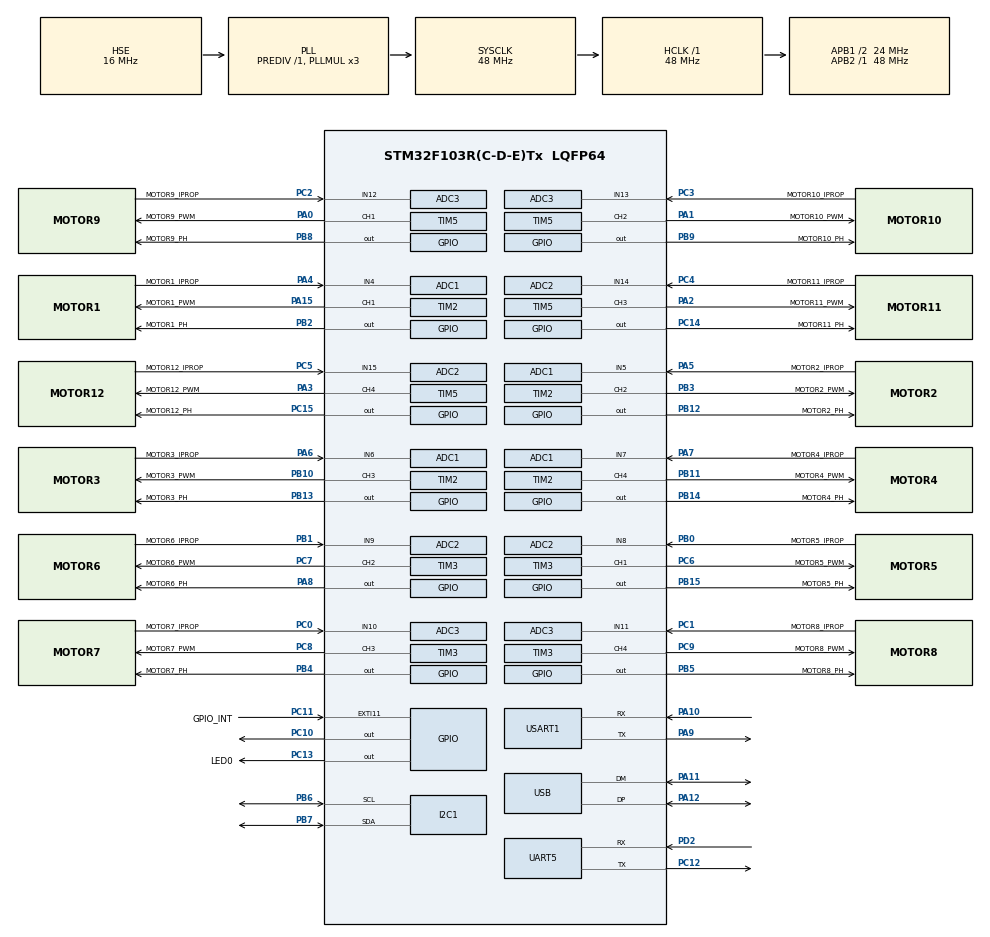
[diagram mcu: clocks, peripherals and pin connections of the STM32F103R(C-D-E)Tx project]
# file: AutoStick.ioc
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ADC1.Channel-0\#ChannelRegularConversion=ADC_CHANNEL_4
ADC1.NbrOfConversionFlag=1
ADC1.Rank-0\#ChannelRegularConversion=1
ADC1.SamplingTime-0\#ChannelRegularConversion=ADC_SAMPLETIME_1CYCLE_5
ADC1.master=1
ADC2.Channel-0\#ChannelRegularConversion=ADC_CHANNEL_8
ADC2.NbrOfConversionFlag=1
ADC2.Rank-0\#ChannelRegularConversion=1
ADC2.SamplingTime-0\#ChannelRegularConversion=ADC_SAMPLETIME_1CYCLE_5
ADC3.Channel-0\#ChannelRegularConversion=ADC_CHANNEL_10
ADC3.NbrOfConversionFlag=1
ADC3.Rank-0\#ChannelRegularConversion=1
ADC3.SamplingTime-0\#ChannelRegularConversion=ADC_SAMPLETIME_1CYCLE_5
Dma.Request0=USART1_RX
Dma.Request1=USART1_TX
Dma.USART1_RX.0.Direction=DMA_PERIPH_TO_MEMORY
Dma.USART1_RX.0.Instance=DMA1_Channel5
Dma.USART1_RX.0.MemDataAlignment=DMA_MDATAALIGN_BYTE
Dma.USART1_RX.0.MemInc=DMA_MINC_ENABLE
Dma.USART1_RX.0.Mode=DMA_CIRCULAR
Dma.USART1_RX.0.PeriphDataAlignment=DMA_PDATAALIGN_BYTE
Dma.USART1_RX.0.PeriphInc=DMA_PINC_DISABLE
Dma.USART1_RX.0.Priority=DMA_PRIORITY_LOW
Dma.USART1_TX.1.Direction=DMA_MEMORY_TO_PERIPH
Dma.USART1_TX.1.Instance=DMA1_Channel4
Dma.USART1_TX.1.MemDataAlignment=DMA_MDATAALIGN_BYTE
Dma.USART1_TX.1.MemInc=DMA_MINC_ENABLE
Dma.USART1_TX.1.Mode=DMA_NORMAL
Dma.USART1_TX.1.PeriphDataAlignment=DMA_PDATAALIGN_BYTE
Dma.USART1_TX.1.PeriphInc=DMA_PINC_DISABLE
Dma.USART1_TX.1.Priority=DMA_PRIORITY_LOW
FREERTOS.Tasks01=defaultTask,0,128,StartDefaultTask,Default,NULL,Dynamic,NULL,NULL
Mcu.Family=STM32F1
Mcu.Name=STM32F103R(C-D-E)Tx
Mcu.Package=LQFP64
NVIC.DMA1_Channel4_IRQn=true\:5\:0\:false\:false\:true\:true\:false\:true
NVIC.DMA1_Channel5_IRQn=true\:5\:0\:false\:false\:true\:true\:false\:true
NVIC.EXTI15_10_IRQn=true\:5\:0\:false\:false\:true\:true\:true\:true
NVIC.PriorityGroup=NVIC_PRIORITYGROUP_4
NVIC.TIM7_IRQn=true\:0\:0\:false\:false\:true\:false\:false\:true
NVIC.TimeBase=TIM7_IRQn
NVIC.TimeBaseIP=TIM7
NVIC.UART5_IRQn=true\:5\:0\:false\:false\:true\:true\:true\:true
NVIC.USART1_IRQn=true\:5\:0\:false\:false\:true\:true\:true\:true
NVIC.USB_LP_CAN1_RX0_IRQn=true\:5\:0\:false\:false\:true\:true\:false\:true
PA0-WKUP.GPIO_Label=MOTOR9_PWM
PA0-WKUP.Signal=S_TIM5_CH1
PA1.GPIO_Label=MOTOR10_PWM
PA1.Signal=S_TIM5_CH2
PA10.Mode=Asynchronous
PA10.Signal=USART1_RX
PA11.Mode=Device
PA11.Signal=USB_DM
PA12.Mode=Device
PA12.Signal=USB_DP
PA13.Mode=Serial_Wire
PA13.Signal=SYS_JTMS-SWDIO
PA14.Mode=Serial_Wire
PA14.Signal=SYS_JTCK-SWCLK
PA15.GPIO_Label=MOTOR1_PWM
PA15.Signal=S_TIM2_CH1_ETR
PA2.GPIO_Label=MOTOR11_PWM
PA2.Signal=S_TIM5_CH3
PA3.GPIO_Label=MOTOR12_PWM
PA3.Signal=S_TIM5_CH4
PA4.GPIO_Label=MOTOR1_IPROP
PA4.Signal=ADCx_IN4
PA5.GPIO_Label=MOTOR2_IPROP
PA5.Signal=ADCx_IN5
PA6.GPIO_Label=MOTOR3_IPROP
PA6.Signal=ADCx_IN6
PA7.GPIO_Label=MOTOR4_IPROP
PA7.Signal=ADCx_IN7
PA8.GPIO_Label=MOTOR6_PH
PA8.Signal=GPIO_Output
PA9.Mode=Asynchronous
PA9.Signal=USART1_TX
PB0.GPIO_Label=MOTOR5_IPROP
PB0.Signal=ADCx_IN8
PB1.GPIO_Label=MOTOR6_IPROP
PB1.Signal=ADCx_IN9
PB10.GPIO_Label=MOTOR3_PWM
PB10.Signal=S_TIM2_CH3
PB11.GPIO_Label=MOTOR4_PWM
PB11.Signal=S_TIM2_CH4
PB12.GPIO_Label=MOTOR2_PH
PB12.Signal=GPIO_Output
PB13.GPIO_Label=MOTOR3_PH
PB13.Signal=GPIO_Output
PB14.GPIO_Label=MOTOR4_PH
PB14.Signal=GPIO_Output
PB15.GPIO_Label=MOTOR5_PH
PB15.Signal=GPIO_Output
PB2.GPIO_Label=MOTOR1_PH
PB2.Signal=GPIO_Output
PB3.GPIO_Label=MOTOR2_PWM
PB3.Signal=S_TIM2_CH2
PB4.GPIO_Label=MOTOR7_PH
PB4.Signal=GPIO_Output
PB5.GPIO_Label=MOTOR8_PH
PB5.Signal=GPIO_Output
PB6.Mode=I2C
PB6.Signal=I2C1_SCL
PB7.Mode=I2C
PB7.Signal=I2C1_SDA
PB8.GPIO_Label=MOTOR9_PH
PB8.Signal=GPIO_Output
PB9.GPIO_Label=MOTOR10_PH
PB9.Signal=GPIO_Output
PC0.GPIO_Label=MOTOR7_IPROP
PC0.Signal=ADCx_IN10
PC1.GPIO_Label=MOTOR8_IPROP
PC1.Signal=ADCx_IN11
PC10.Signal=GPIO_Output
PC11.GPIO_Label=GPIO_INT
PC11.Signal=GPXTI11
PC12.Mode=Asynchronous
PC12.Signal=UART5_TX
PC13-TAMPER-RTC.GPIO_Label=LED0
PC13-TAMPER-RTC.Signal=GPIO_Output
PC14-OSC32_IN.GPIO_Label=MOTOR11_PH
PC14-OSC32_IN.Signal=GPIO_Output
PC15-OSC32_OUT.GPIO_Label=MOTOR12_PH
PC15-OSC32_OUT.Signal=GPIO_Output
PC2.GPIO_Label=MOTOR9_IPROP
PC2.Signal=ADCx_IN12
PC3.GPIO_Label=MOTOR10_IPROP
PC3.Signal=ADCx_IN13
PC4.GPIO_Label=MOTOR11_IPROP
PC4.Signal=ADCx_IN14
PC5.GPIO_Label=MOTOR12_IPROP
PC5.Signal=ADCx_IN15
PC6.GPIO_Label=MOTOR5_PWM
PC6.Signal=S_TIM3_CH1
PC7.GPIO_Label=MOTOR6_PWM
PC7.Signal=S_TIM3_CH2
PC8.GPIO_Label=MOTOR7_PWM
PC8.Signal=S_TIM3_CH3
PC9.GPIO_Label=MOTOR8_PWM
PC9.Signal=S_TIM3_CH4
PD0-OSC_IN.Mode=HSE-External-Oscillator
PD0-OSC_IN.Signal=RCC_OSC_IN
PD1-OSC_OUT.Mode=HSE-External-Oscillator
PD1-OSC_OUT.Signal=RCC_OSC_OUT
PD2.Mode=Asynchronous
PD2.Signal=UART5_RX
ProjectManager.HeapSize=0x200
ProjectManager.StackSize=0x400
ProjectManager.TargetToolchain=STM32CubeIDE
RCC.ADCPresc=RCC_ADCPCLK2_DIV4
RCC.AHBFreq_Value=48000000
RCC.APB1CLKDivider=RCC_HCLK_DIV2
RCC.APB1Freq_Value=24000000
RCC.APB1TimFreq_Value=48000000
RCC.APB2Freq_Value=48000000
RCC.APB2TimFreq_Value=48000000
RCC.HCLKFreq_Value=48000000
RCC.HSE_VALUE=16000000
RCC.PLLMUL=RCC_PLL_MUL3
RCC.PLLSourceVirtual=RCC_PLLSOURCE_HSE
RCC.SYSCLKFreq_VALUE=48000000
RCC.SYSCLKSource=RCC_SYSCLKSOURCE_PLLCLK
RCC.USBFreq_Value=48000000
SH.ADCx_IN10.0=ADC3_IN10,IN10
SH.ADCx_IN11.0=ADC3_IN11,IN11
SH.ADCx_IN12.0=ADC3_IN12,IN12
SH.ADCx_IN13.0=ADC3_IN13,IN13
SH.ADCx_IN14.0=ADC2_IN14,IN14
SH.ADCx_IN15.0=ADC2_IN15,IN15
SH.ADCx_IN4.0=ADC1_IN4,IN4
SH.ADCx_IN5.0=ADC1_IN5,IN5
SH.ADCx_IN6.0=ADC1_IN6,IN6
SH.ADCx_IN7.0=ADC1_IN7,IN7
SH.ADCx_IN8.0=ADC2_IN8,IN8
SH.ADCx_IN9.0=ADC2_IN9,IN9
SH.S_TIM2_CH1_ETR.0=TIM2_CH1,PWM Generation1 CH1
SH.S_TIM2_CH2.0=TIM2_CH2,PWM Generation2 CH2
SH.S_TIM2_CH3.0=TIM2_CH3,PWM Generation3 CH3
SH.S_TIM2_CH4.0=TIM2_CH4,PWM Generation4 CH4
SH.S_TIM3_CH1.0=TIM3_CH1,PWM Generation1 CH1
SH.S_TIM3_CH2.0=TIM3_CH2,PWM Generation2 CH2
SH.S_TIM3_CH3.0=TIM3_CH3,PWM Generation3 CH3
SH.S_TIM3_CH4.0=TIM3_CH4,PWM Generation4 CH4
SH.S_TIM5_CH1.0=TIM5_CH1,PWM Generation1 CH1
SH.S_TIM5_CH2.0=TIM5_CH2,PWM Generation2 CH2
SH.S_TIM5_CH3.0=TIM5_CH3,PWM Generation3 CH3
SH.S_TIM5_CH4.0=TIM5_CH4,PWM Generation4 CH4
TIM2.Channel-PWM\ Generation1\ CH1=TIM_CHANNEL_1
TIM2.Channel-PWM\ Generation2\ CH2=TIM_CHANNEL_2
TIM2.Channel-PWM\ Generation3\ CH3=TIM_CHANNEL_3
TIM2.Channel-PWM\ Generation4\ CH4=TIM_CHANNEL_4
TIM3.Channel-PWM\ Generation1\ CH1=TIM_CHANNEL_1
TIM3.Channel-PWM\ Generation2\ CH2=TIM_CHANNEL_2
TIM3.Channel-PWM\ Generation3\ CH3=TIM_CHANNEL_3
TIM3.Channel-PWM\ Generation4\ CH4=TIM_CHANNEL_4
TIM3.Period=200-1
TIM5.Channel-PWM\ Generation1\ CH1=TIM_CHANNEL_1
TIM5.Channel-PWM\ Generation2\ CH2=TIM_CHANNEL_2
TIM5.Channel-PWM\ Generation3\ CH3=TIM_CHANNEL_3
TIM5.Channel-PWM\ Generation4\ CH4=TIM_CHANNEL_4
UART5.VirtualMode=Asynchronous
USART1.VirtualMode=VM_ASYNC
USB_DEVICE.CLASS_NAME_FS=CDC
USB_DEVICE.VirtualMode=Cdc
USB_DEVICE.VirtualModeFS=Cdc_FS
VP_FREERTOS_VS_CMSIS_V1.Mode=CMSIS_V1
VP_SYS_VS_tim7.Mode=TIM7
VP_TIM2_VS_ClockSourceINT.Mode=Internal
VP_TIM3_VS_ClockSourceINT.Mode=Internal
VP_USB_DEVICE_VS_USB_DEVICE_CDC_FS.Mode=CDC_FS
board=custom

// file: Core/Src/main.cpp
/* USER CODE BEGIN Header */
/**
  ******************************************************************************
  * @file           : main.c
  * @brief          : Main program body
  ******************************************************************************
  * @attention
  *
  * <h2><center>&copy; Copyright (c) 2020 STMicroelectronics.
  * All rights reserved.</center></h2>
  *
  * This software component is licensed by ST under Ultimate Liberty license
  * SLA0044, the "License"; You may not use this file except in compliance with
  * the License. You may obtain a copy of the License at:
  *                             www.st.com/SLA0044
  *
  ******************************************************************************
  */
/* USER CODE END Header */

#include "main.h"
#include "cmsis_os.h"
#include "usb_device.h"

/* USER CODE BEGIN Includes */
#include "uart_cdc_if.h"

#include "midiUSB.h"
#include "midiTypes.h"
#include "midiOutput.h"

#include "sysHelpers.h"

#include "atstkChannel.h"
#include "atstkChannels.h"
#include "TCA9555.h"
#include "LEDHandler.h"
#include "utils.h"
/* USER CODE END Includes */

/* USER CODE BEGIN PD */
#define APP_RX_DATA_SIZE  64
#define APP_TX_DATA_SIZE  64
/* USER CODE END PD */

ADC_HandleTypeDef hadc1;
ADC_HandleTypeDef hadc2;
ADC_HandleTypeDef hadc3;

I2C_HandleTypeDef hi2c1;

TIM_HandleTypeDef htim2;
TIM_HandleTypeDef htim3;
TIM_HandleTypeDef htim5;

UART_HandleTypeDef huart5;
UART_HandleTypeDef huart1;
DMA_HandleTypeDef hdma_usart1_rx;
DMA_HandleTypeDef hdma_usart1_tx;

/* USER CODE BEGIN PV */
TCA9555			tca;
atstkChannels 	sticks;				// drum stick channels
LEDHandler		leds;				// led handler
unsigned char urx[4];				// midi uart data from esp32(size of midi is 4.)
unsigned char utx[4000];
extern uint8_t UserRxBufferFS[APP_RX_DATA_SIZE];
extern uint8_t UserTxBufferFS[APP_TX_DATA_SIZE];

UARTQUEUE CDCQue;
UARTQUEUE UartQue;
uint8 usbstatus;

osThreadId MidiThreadTaskHandle;
channelConfig configs[12] = {
		{ &htim2, TIM_CHANNEL_1, MOTOR1_PH_GPIO_Port, MOTOR1_PH_Pin },
		{ &htim2, TIM_CHANNEL_2, MOTOR2_PH_GPIO_Port, MOTOR2_PH_Pin },
		{ &htim2, TIM_CHANNEL_3, MOTOR3_PH_GPIO_Port, MOTOR3_PH_Pin },
		{ &htim2, TIM_CHANNEL_4, MOTOR4_PH_GPIO_Port, MOTOR4_PH_Pin },
		{ &htim3, TIM_CHANNEL_1, MOTOR5_PH_GPIO_Port, MOTOR5_PH_Pin },
		{ &htim3, TIM_CHANNEL_2, MOTOR6_PH_GPIO_Port, MOTOR6_PH_Pin },
		{ &htim3, TIM_CHANNEL_3, MOTOR7_PH_GPIO_Port, MOTOR7_PH_Pin },
		{ &htim3, TIM_CHANNEL_4, MOTOR8_PH_GPIO_Port, MOTOR8_PH_Pin },
		{ &htim5, TIM_CHANNEL_1, MOTOR9_PH_GPIO_Port, MOTOR9_PH_Pin },
		{ &htim5, TIM_CHANNEL_2, MOTOR10_PH_GPIO_Port, MOTOR10_PH_Pin },
		{ &htim5, TIM_CHANNEL_3, MOTOR11_PH_GPIO_Port, MOTOR11_PH_Pin },
		{ &htim5, TIM_CHANNEL_4, MOTOR12_PH_GPIO_Port, MOTOR12_PH_Pin }
};
/* USER CODE END PV */

void SystemClock_Config(void);
static void MX_GPIO_Init(void);
static void MX_DMA_Init(void);
static void MX_UART5_Init(void);
static void MX_USART1_UART_Init(void);
static void MX_ADC1_Init(void);
static void MX_ADC2_Init(void);
static void MX_ADC3_Init(void);
static void MX_I2C1_Init(void);
static void MX_TIM2_Init(void);
static void MX_TIM3_Init(void);
static void MX_TIM5_Init(void);

/* USER CODE BEGIN PFP */
void HAL_UART_RxCpltCallback(UART_HandleTypeDef *huart) {
	if (huart->Instance == huart5.Instance) {
		USBMIDIEventPacket midi;
		sysMemCopy(&(midi.EventData), urx, sizeof(midi));
		midiOutputEventPush(midi);
		HAL_UART_Receive_IT(&huart5, urx, sizeof(urx));
	}
}

void MidiThread(const void *p)
{
	midiUSBDeviceInitialize();		//MX_USB_DEVICE_INIT();
	midiOutputInitialize();			//Initialize midi USB queue
	while(1)
	{
		USBMIDIEventPacket midi;
		while(!midiIsConnected())midiUSBTask();
		if(midiOutput(&(midi.PacketHeader), &(midi.Data0), &(midi.Data1), &(midi.Data2)))
		{
			sticks.set(midi);
			leds.set(midi);
		}
		sticks.loop();
		//osDelay(1);
	}
}

/*
void MainThread(const void *p)
{
uint8 ret;
  for(;;)
  {
	  if(CDCQue.data > 0)            // if data exist in CDCQueue, send them to ESP8266(USART3)
	  {
	      ret = GetDataFromUartQueue(&CDCQue);
	      HAL_UART_Transmit(&huart5, &ret, 1, 10);
	  }
	  if(UartQue.data > 0)
	  {
		  ret=GetDataFromUartQueue(&UartQue);
		  do
		  {
			  usbstatus=CDC_Transmit_FS(&ret,1);
		  }while(usbstatus!=USBD_OK);
	  }
    osDelay(1);
  }
}
*/
/* USER CODE END PFP */

int main(void)
{
  /* USER CODE BEGIN 1 */
  ADC_HandleTypeDef* hadcs[3] = {&hadc1, &hadc2, &hadc3};
  InitUartQueue(&UartQue);
  InitUartQueue(&CDCQue);
  /* USER CODE END 1 */

  /* MCU Configuration--------------------------------------------------------*/

  /* Reset of all peripherals, Initializes the Flash interface and the Systick. */
  HAL_Init();

  /* Configure the system clock */
  SystemClock_Config();

  /* Initialize all configured peripherals */
  MX_GPIO_Init();
  MX_DMA_Init();
  MX_UART5_Init();
  MX_USART1_UART_Init();
  MX_ADC1_Init();
  MX_ADC2_Init();
  MX_ADC3_Init();
  MX_I2C1_Init();
  MX_TIM2_Init();
  MX_TIM3_Init();
  MX_TIM5_Init();
  /* USER CODE BEGIN 2 */
  tca.init(&hi2c1, PIN12|PIN13|PIN14|PIN15);
  leds.init(&huart5, &tca);
  sticks.set_configs(configs, hadcs, &hi2c1);
  HAL_UART_Receive_IT(&huart5, urx, sizeof(urx));

  /* USER CODE END 2 */

  /* Create the thread(s) */
  /* definition and creation of defaultTask */

  /* USER CODE BEGIN RTOS_THREADS */
  /* add threads, ... */
  /*
  osThreadDef(MainThread, MainThread, osPriorityNormal, 0, 128);
  MainThreadTaskHandle = osThreadCreate(osThread(MainThread), NULL);		// main thread task

  */
  osThreadDef(MidiThread, MidiThread, osPriorityNormal, 0, 128);
  MidiThreadTaskHandle = osThreadCreate(osThread(MidiThread), NULL);		// pwm thread task

  /* USER CODE END RTOS_THREADS */

  /* Start scheduler */
  osKernelStart();

  /* We should never get here as control is now taken by the scheduler */
  /* Infinite loop */
  while (1)
  {

  }
}

void SystemClock_Config(void)
{
  RCC_OscInitTypeDef RCC_OscInitStruct = {0};
  RCC_ClkInitTypeDef RCC_ClkInitStruct = {0};
  RCC_PeriphCLKInitTypeDef PeriphClkInit = {0};

  /** Initializes the CPU, AHB and APB busses clocks
  */
  RCC_OscInitStruct.OscillatorType = RCC_OSCILLATORTYPE_HSE;
  RCC_OscInitStruct.HSEState = RCC_HSE_ON;
  RCC_OscInitStruct.HSEPredivValue = RCC_HSE_PREDIV_DIV1;
  RCC_OscInitStruct.HSIState = RCC_HSI_ON;
  RCC_OscInitStruct.PLL.PLLState = RCC_PLL_ON;
  RCC_OscInitStruct.PLL.PLLSource = RCC_PLLSOURCE_HSE;
  RCC_OscInitStruct.PLL.PLLMUL = RCC_PLL_MUL3;
  if (HAL_RCC_OscConfig(&RCC_OscInitStruct) != HAL_OK)
  {
    Error_Handler();
  }
  /** Initializes the CPU, AHB and APB busses clocks
  */
  RCC_ClkInitStruct.ClockType = RCC_CLOCKTYPE_HCLK|RCC_CLOCKTYPE_SYSCLK
                              |RCC_CLOCKTYPE_PCLK1|RCC_CLOCKTYPE_PCLK2;
  RCC_ClkInitStruct.SYSCLKSource = RCC_SYSCLKSOURCE_PLLCLK;
  RCC_ClkInitStruct.AHBCLKDivider = RCC_SYSCLK_DIV1;
  RCC_ClkInitStruct.APB1CLKDivider = RCC_HCLK_DIV2;
  RCC_ClkInitStruct.APB2CLKDivider = RCC_HCLK_DIV1;

  if (HAL_RCC_ClockConfig(&RCC_ClkInitStruct, FLASH_LATENCY_1) != HAL_OK)
  {
    Error_Handler();
  }
  PeriphClkInit.PeriphClockSelection = RCC_PERIPHCLK_ADC|RCC_PERIPHCLK_USB;
  PeriphClkInit.AdcClockSelection = RCC_ADCPCLK2_DIV4;
  PeriphClkInit.UsbClockSelection = RCC_USBCLKSOURCE_PLL;
  if (HAL_RCCEx_PeriphCLKConfig(&PeriphClkInit) != HAL_OK)
  {
    Error_Handler();
  }
}

static void MX_ADC1_Init(void)
{

  ADC_ChannelConfTypeDef sConfig = {0};

  /** Common config
  */
  hadc1.Instance = ADC1;
  hadc1.Init.ScanConvMode = ADC_SCAN_DISABLE;
  hadc1.Init.ContinuousConvMode = DISABLE;
  hadc1.Init.DiscontinuousConvMode = DISABLE;
  hadc1.Init.ExternalTrigConv = ADC_SOFTWARE_START;
  hadc1.Init.DataAlign = ADC_DATAALIGN_RIGHT;
  hadc1.Init.NbrOfConversion = 1;
  if (HAL_ADC_Init(&hadc1) != HAL_OK)
  {
    Error_Handler();
  }
  /** Configure Regular Channel
  */
  sConfig.Channel = ADC_CHANNEL_4;
  sConfig.Rank = ADC_REGULAR_RANK_1;
  sConfig.SamplingTime = ADC_SAMPLETIME_1CYCLE_5;
  if (HAL_ADC_ConfigChannel(&hadc1, &sConfig) != HAL_OK)
  {
    Error_Handler();
  }

}

static void MX_ADC2_Init(void)
{

  ADC_ChannelConfTypeDef sConfig = {0};

  /** Common config
  */
  hadc2.Instance = ADC2;
  hadc2.Init.ScanConvMode = ADC_SCAN_DISABLE;
  hadc2.Init.ContinuousConvMode = DISABLE;
  hadc2.Init.DiscontinuousConvMode = DISABLE;
  hadc2.Init.ExternalTrigConv = ADC_SOFTWARE_START;
  hadc2.Init.DataAlign = ADC_DATAALIGN_RIGHT;
  hadc2.Init.NbrOfConversion = 1;
  if (HAL_ADC_Init(&hadc2) != HAL_OK)
  {
    Error_Handler();
  }
  /** Configure Regular Channel
  */
  sConfig.Channel = ADC_CHANNEL_8;
  sConfig.Rank = ADC_REGULAR_RANK_1;
  sConfig.SamplingTime = ADC_SAMPLETIME_1CYCLE_5;
  if (HAL_ADC_ConfigChannel(&hadc2, &sConfig) != HAL_OK)
  {
    Error_Handler();
  }

}

static void MX_ADC3_Init(void)
{

  ADC_ChannelConfTypeDef sConfig = {0};

  /** Common config
  */
  hadc3.Instance = ADC3;
  hadc3.Init.ScanConvMode = ADC_SCAN_DISABLE;
  hadc3.Init.ContinuousConvMode = DISABLE;
  hadc3.Init.DiscontinuousConvMode = DISABLE;
  hadc3.Init.ExternalTrigConv = ADC_SOFTWARE_START;
  hadc3.Init.DataAlign = ADC_DATAALIGN_RIGHT;
  hadc3.Init.NbrOfConversion = 1;
  if (HAL_ADC_Init(&hadc3) != HAL_OK)
  {
    Error_Handler();
  }
  /** Configure Regular Channel
  */
  sConfig.Channel = ADC_CHANNEL_10;
  sConfig.Rank = ADC_REGULAR_RANK_1;
  sConfig.SamplingTime = ADC_SAMPLETIME_1CYCLE_5;
  if (HAL_ADC_ConfigChannel(&hadc3, &sConfig) != HAL_OK)
  {
    Error_Handler();
  }

}

static void MX_I2C1_Init(void)
{

  hi2c1.Instance = I2C1;
  hi2c1.Init.ClockSpeed = 100000;
  hi2c1.Init.DutyCycle = I2C_DUTYCYCLE_2;
  hi2c1.Init.OwnAddress1 = 0;
  hi2c1.Init.AddressingMode = I2C_ADDRESSINGMODE_7BIT;
  hi2c1.Init.DualAddressMode = I2C_DUALADDRESS_DISABLE;
  hi2c1.Init.OwnAddress2 = 0;
  hi2c1.Init.GeneralCallMode = I2C_GENERALCALL_DISABLE;
  hi2c1.Init.NoStretchMode = I2C_NOSTRETCH_DISABLE;
  if (HAL_I2C_Init(&hi2c1) != HAL_OK)
  {
    Error_Handler();
  }

}

static void MX_TIM2_Init(void)
{

  TIM_ClockConfigTypeDef sClockSourceConfig = {0};
  TIM_MasterConfigTypeDef sMasterConfig = {0};
  TIM_OC_InitTypeDef sConfigOC = {0};

  htim2.Instance = TIM2;
  htim2.Init.Prescaler = 0;
  htim2.Init.CounterMode = TIM_COUNTERMODE_UP;
  htim2.Init.Period = 0;
  htim2.Init.ClockDivision = TIM_CLOCKDIVISION_DIV1;
  htim2.Init.AutoReloadPreload = TIM_AUTORELOAD_PRELOAD_DISABLE;
  if (HAL_TIM_Base_Init(&htim2) != HAL_OK)
  {
    Error_Handler();
  }
  sClockSourceConfig.ClockSource = TIM_CLOCKSOURCE_INTERNAL;
  if (HAL_TIM_ConfigClockSource(&htim2, &sClockSourceConfig) != HAL_OK)
  {
    Error_Handler();
  }
  if (HAL_TIM_PWM_Init(&htim2) != HAL_OK)
  {
    Error_Handler();
  }
  sMasterConfig.MasterOutputTrigger = TIM_TRGO_RESET;
  sMasterConfig.MasterSlaveMode = TIM_MASTERSLAVEMODE_DISABLE;
  if (HAL_TIMEx_MasterConfigSynchronization(&htim2, &sMasterConfig) != HAL_OK)
  {
    Error_Handler();
  }
  sConfigOC.OCMode = TIM_OCMODE_PWM1;
  sConfigOC.Pulse = 0;
  sConfigOC.OCPolarity = TIM_OCPOLARITY_HIGH;
  sConfigOC.OCFastMode = TIM_OCFAST_DISABLE;
  if (HAL_TIM_PWM_ConfigChannel(&htim2, &sConfigOC, TIM_CHANNEL_1) != HAL_OK)
  {
    Error_Handler();
  }
  if (HAL_TIM_PWM_ConfigChannel(&htim2, &sConfigOC, TIM_CHANNEL_2) != HAL_OK)
  {
    Error_Handler();
  }
  if (HAL_TIM_PWM_ConfigChannel(&htim2, &sConfigOC, TIM_CHANNEL_3) != HAL_OK)
  {
    Error_Handler();
  }
  if (HAL_TIM_PWM_ConfigChannel(&htim2, &sConfigOC, TIM_CHANNEL_4) != HAL_OK)
  {
    Error_Handler();
  }
  HAL_TIM_MspPostInit(&htim2);

}

static void MX_TIM3_Init(void)
{

  TIM_ClockConfigTypeDef sClockSourceConfig = {0};
  TIM_MasterConfigTypeDef sMasterConfig = {0};
  TIM_OC_InitTypeDef sConfigOC = {0};

  htim3.Instance = TIM3;
  htim3.Init.Prescaler = 0;
  htim3.Init.CounterMode = TIM_COUNTERMODE_UP;
  htim3.Init.Period = 200-1;
  htim3.Init.ClockDivision = TIM_CLOCKDIVISION_DIV1;
  htim3.Init.AutoReloadPreload = TIM_AUTORELOAD_PRELOAD_DISABLE;
  if (HAL_TIM_Base_Init(&htim3) != HAL_OK)
  {
    Error_Handler();
  }
  sClockSourceConfig.ClockSource = TIM_CLOCKSOURCE_INTERNAL;
  if (HAL_TIM_ConfigClockSource(&htim3, &sClockSourceConfig) != HAL_OK)
  {
    Error_Handler();
  }
  if (HAL_TIM_PWM_Init(&htim3) != HAL_OK)
  {
    Error_Handler();
  }
  sMasterConfig.MasterOutputTrigger = TIM_TRGO_RESET;
  sMasterConfig.MasterSlaveMode = TIM_MASTERSLAVEMODE_DISABLE;
  if (HAL_TIMEx_MasterConfigSynchronization(&htim3, &sMasterConfig) != HAL_OK)
  {
    Error_Handler();
  }
  sConfigOC.OCMode = TIM_OCMODE_PWM1;
  sConfigOC.Pulse = 0;
  sConfigOC.OCPolarity = TIM_OCPOLARITY_HIGH;
  sConfigOC.OCFastMode = TIM_OCFAST_DISABLE;
  if (HAL_TIM_PWM_ConfigChannel(&htim3, &sConfigOC, TIM_CHANNEL_1) != HAL_OK)
  {
    Error_Handler();
  }
  if (HAL_TIM_PWM_ConfigChannel(&htim3, &sConfigOC, TIM_CHANNEL_2) != HAL_OK)
  {
    Error_Handler();
  }
  if (HAL_TIM_PWM_ConfigChannel(&htim3, &sConfigOC, TIM_CHANNEL_3) != HAL_OK)
  {
    Error_Handler();
  }
  if (HAL_TIM_PWM_ConfigChannel(&htim3, &sConfigOC, TIM_CHANNEL_4) != HAL_OK)
  {
    Error_Handler();
  }
  HAL_TIM_MspPostInit(&htim3);

}

static void MX_TIM5_Init(void)
{

  TIM_MasterConfigTypeDef sMasterConfig = {0};
  TIM_OC_InitTypeDef sConfigOC = {0};

  htim5.Instance = TIM5;
  htim5.Init.Prescaler = 0;
  htim5.Init.CounterMode = TIM_COUNTERMODE_UP;
  htim5.Init.Period = 0;
  htim5.Init.ClockDivision = TIM_CLOCKDIVISION_DIV1;
  htim5.Init.AutoReloadPreload = TIM_AUTORELOAD_PRELOAD_DISABLE;
  if (HAL_TIM_PWM_Init(&htim5) != HAL_OK)
  {
    Error_Handler();
  }
  sMasterConfig.MasterOutputTrigger = TIM_TRGO_RESET;
  sMasterConfig.MasterSlaveMode = TIM_MASTERSLAVEMODE_DISABLE;
  if (HAL_TIMEx_MasterConfigSynchronization(&htim5, &sMasterConfig) != HAL_OK)
  {
    Error_Handler();
  }
  sConfigOC.OCMode = TIM_OCMODE_PWM1;
  sConfigOC.Pulse = 0;
  sConfigOC.OCPolarity = TIM_OCPOLARITY_HIGH;
  sConfigOC.OCFastMode = TIM_OCFAST_DISABLE;
  if (HAL_TIM_PWM_ConfigChannel(&htim5, &sConfigOC, TIM_CHANNEL_1) != HAL_OK)
  {
    Error_Handler();
  }
  if (HAL_TIM_PWM_ConfigChannel(&htim5, &sConfigOC, TIM_CHANNEL_2) != HAL_OK)
  {
    Error_Handler();
  }
  if (HAL_TIM_PWM_ConfigChannel(&htim5, &sConfigOC, TIM_CHANNEL_3) != HAL_OK)
  {
    Error_Handler();
  }
  if (HAL_TIM_PWM_ConfigChannel(&htim5, &sConfigOC, TIM_CHANNEL_4) != HAL_OK)
  {
    Error_Handler();
  }
  HAL_TIM_MspPostInit(&htim5);

}

static void MX_UART5_Init(void)
{

  huart5.Instance = UART5;
  huart5.Init.BaudRate = 115200;
  huart5.Init.WordLength = UART_WORDLENGTH_8B;
  huart5.Init.StopBits = UART_STOPBITS_1;
  huart5.Init.Parity = UART_PARITY_NONE;
  huart5.Init.Mode = UART_MODE_TX_RX;
  huart5.Init.HwFlowCtl = UART_HWCONTROL_NONE;
  huart5.Init.OverSampling = UART_OVERSAMPLING_16;
  if (HAL_UART_Init(&huart5) != HAL_OK)
  {
    Error_Handler();
  }

}

static void MX_USART1_UART_Init(void)
{

  huart1.Instance = USART1;
  huart1.Init.BaudRate = 115200;
  huart1.Init.WordLength = UART_WORDLENGTH_8B;
  huart1.Init.StopBits = UART_STOPBITS_1;
  huart1.Init.Parity = UART_PARITY_NONE;
  huart1.Init.Mode = UART_MODE_TX_RX;
  huart1.Init.HwFlowCtl = UART_HWCONTROL_NONE;
  huart1.Init.OverSampling = UART_OVERSAMPLING_16;
  if (HAL_UART_Init(&huart1) != HAL_OK)
  {
    Error_Handler();
  }

}

static void MX_DMA_Init(void)
{

  /* DMA controller clock enable */
  __HAL_RCC_DMA1_CLK_ENABLE();

  /* DMA interrupt init */
  /* DMA1_Channel4_IRQn interrupt configuration */
  HAL_NVIC_SetPriority(DMA1_Channel4_IRQn, 5, 0);
  HAL_NVIC_EnableIRQ(DMA1_Channel4_IRQn);
  /* DMA1_Channel5_IRQn interrupt configuration */
  HAL_NVIC_SetPriority(DMA1_Channel5_IRQn, 5, 0);
  HAL_NVIC_EnableIRQ(DMA1_Channel5_IRQn);

}

static void MX_GPIO_Init(void)
{
  GPIO_InitTypeDef GPIO_InitStruct = {0};

  /* GPIO Ports Clock Enable */
  __HAL_RCC_GPIOC_CLK_ENABLE();
  __HAL_RCC_GPIOD_CLK_ENABLE();
  __HAL_RCC_GPIOA_CLK_ENABLE();
  __HAL_RCC_GPIOB_CLK_ENABLE();

  /*Configure GPIO pin Output Level */
  HAL_GPIO_WritePin(GPIOC, LED0_Pin|MOTOR11_PH_Pin|MOTOR12_PH_Pin|GPIO_PIN_10, GPIO_PIN_RESET);

  /*Configure GPIO pin Output Level */
  HAL_GPIO_WritePin(GPIOB, MOTOR1_PH_Pin|MOTOR2_PH_Pin|MOTOR3_PH_Pin|MOTOR4_PH_Pin
                          |MOTOR5_PH_Pin|MOTOR7_PH_Pin|MOTOR8_PH_Pin|MOTOR9_PH_Pin
                          |MOTOR10_PH_Pin, GPIO_PIN_RESET);

  /*Configure GPIO pin Output Level */
  HAL_GPIO_WritePin(MOTOR6_PH_GPIO_Port, MOTOR6_PH_Pin, GPIO_PIN_RESET);

  /*Configure GPIO pins : LED0_Pin MOTOR11_PH_Pin MOTOR12_PH_Pin PC10 */
  GPIO_InitStruct.Pin = LED0_Pin|MOTOR11_PH_Pin|MOTOR12_PH_Pin|GPIO_PIN_10;
  GPIO_InitStruct.Mode = GPIO_MODE_OUTPUT_PP;
  GPIO_InitStruct.Pull = GPIO_NOPULL;
  GPIO_InitStruct.Speed = GPIO_SPEED_FREQ_LOW;
  HAL_GPIO_Init(GPIOC, &GPIO_InitStruct);

  /*Configure GPIO pins : MOTOR1_PH_Pin MOTOR2_PH_Pin MOTOR3_PH_Pin MOTOR4_PH_Pin
                           MOTOR5_PH_Pin MOTOR7_PH_Pin MOTOR8_PH_Pin MOTOR9_PH_Pin
                           MOTOR10_PH_Pin */
  GPIO_InitStruct.Pin = MOTOR1_PH_Pin|MOTOR2_PH_Pin|MOTOR3_PH_Pin|MOTOR4_PH_Pin
                          |MOTOR5_PH_Pin|MOTOR7_PH_Pin|MOTOR8_PH_Pin|MOTOR9_PH_Pin
                          |MOTOR10_PH_Pin;
  GPIO_InitStruct.Mode = GPIO_MODE_OUTPUT_PP;
  GPIO_InitStruct.Pull = GPIO_NOPULL;
  GPIO_InitStruct.Speed = GPIO_SPEED_FREQ_LOW;
  HAL_GPIO_Init(GPIOB, &GPIO_InitStruct);

  /*Configure GPIO pin : MOTOR6_PH_Pin */
  GPIO_InitStruct.Pin = MOTOR6_PH_Pin;
  GPIO_InitStruct.Mode = GPIO_MODE_OUTPUT_PP;
  GPIO_InitStruct.Pull = GPIO_NOPULL;
  GPIO_InitStruct.Speed = GPIO_SPEED_FREQ_LOW;
  HAL_GPIO_Init(MOTOR6_PH_GPIO_Port, &GPIO_InitStruct);

  /*Configure GPIO pin : GPIO_INT_Pin */
  GPIO_InitStruct.Pin = GPIO_INT_Pin;
  GPIO_InitStruct.Mode = GPIO_MODE_IT_RISING;
  GPIO_InitStruct.Pull = GPIO_NOPULL;
  HAL_GPIO_Init(GPIO_INT_GPIO_Port, &GPIO_InitStruct);

  /* EXTI interrupt init*/
  HAL_NVIC_SetPriority(EXTI15_10_IRQn, 5, 0);
  HAL_NVIC_EnableIRQ(EXTI15_10_IRQn);

}

void StartDefaultTask(void const * argument)
{
  /* init code for USB_DEVICE */
  MX_USB_DEVICE_Init();
  for(;;)
  {
    osDelay(1);
  }
}

 /**
  * @brief  Period elapsed callback in non blocking mode
  * @note   This function is called  when TIM7 interrupt took place, inside
  * HAL_TIM_IRQHandler(). It makes a direct call to HAL_IncTick() to increment
  * a global variable "uwTick" used as application time base.
  * @param  htim : TIM handle
  * @retval None
  */
void HAL_TIM_PeriodElapsedCallback(TIM_HandleTypeDef *htim)
{
  if (htim->Instance == TIM7) {
    HAL_IncTick();
  }
}

void Error_Handler(void)
{
}

/************************ (C) COPYRIGHT STMicroelectronics *****END OF FILE****/
